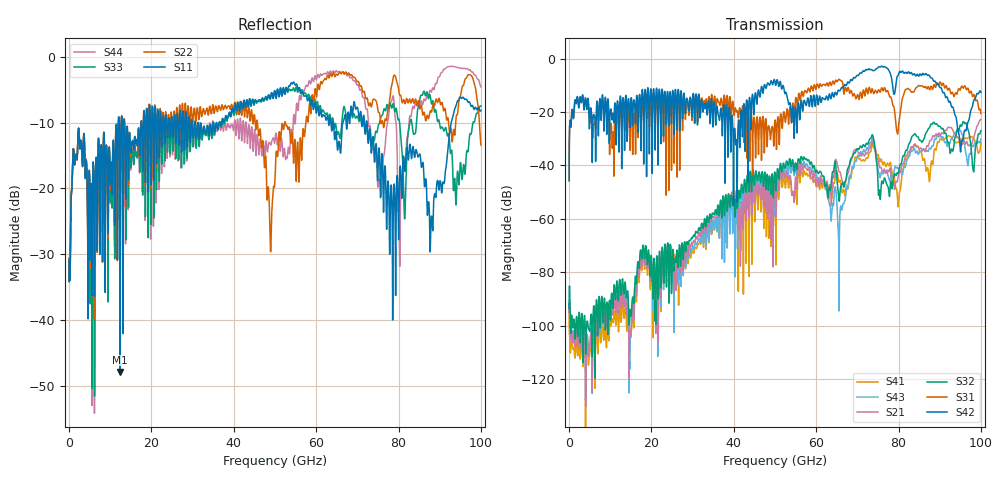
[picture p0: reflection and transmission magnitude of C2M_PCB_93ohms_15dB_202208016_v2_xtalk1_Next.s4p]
! Info: Touchstone file created by Circ.  Input file=Intel_C2M_200G_4p0in_202208016_staggered.circ
# Hz S RI R 50
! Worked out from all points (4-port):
!   10000 points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, 10 MHz to 100 GHz, reference 50 ohm
!   strongest paths, dB at 10 MHz, 25.01 GHz, 50.01 GHz, 75.01 GHz, 100 GHz:
!     S42: -45.7, -15.3, -8.9, -3.3, -12.6
!     S31: -45.8, -18.9, -23.1, -12.1, -20.6
!     S32: -93.5, -79.8, -42.9, -46.7, -27.0
!     S21: -93.9, -74.7, -47.6, -37.8, -22.7
!     S43: -93.6, -79.1, -44.6, -41.7, -30.1
!     S41: -95.7, -73.7, -49.8, -35.9, -31.6
!   lowest |S11| = -48.0 dB at 12.43 GHz (marker M1), VSWR 1.01, Z = 49.7 + j0.293 ohm
!   |S11| at or under -10 dB: start of sweep to 11.99 GHz; 13.49 GHz to 17.5 GHz (4.006 GHz wide, 25.9 % of centre); 72.35 GHz to 92.8 GHz (20.44 GHz wide, 24.8 % of centre)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
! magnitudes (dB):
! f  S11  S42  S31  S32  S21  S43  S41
! 10 MHz  -34.2  -45.7  -45.8  -93.5  -93.9  -93.6  -95.7
! 12.43 GHz  -48.0  -14.1  -17.5  -84.5  -89.0  -87.5  -93.1
! 53.22 GHz  -4.6  -16.2  -23.1  -40.1  -44.7  -43.4  -47.6
! 65.57 GHz  -12.9  -12.0  -7.8  -53.3  -42.3  -94.5  -46.3
! 76.2 GHz  -18.0  -3.1  -12.0  -46.8  -42.3  -43.3  -39.7
! 95.27 GHz  -6.3  -31.6  -10.4  -25.3  -30.7  -27.8  -30.3
! 100 GHz  -8.2  -12.6  -20.6  -27.0  -22.7  -30.1  -31.6
